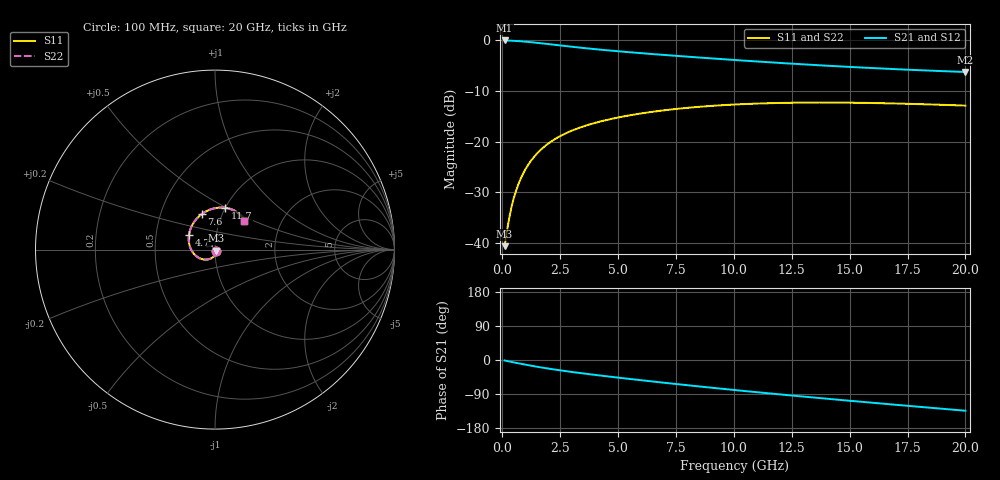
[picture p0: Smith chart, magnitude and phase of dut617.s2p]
! Touchstone file exported from HFSS 2024.1.0
!  File:  C:/UserFiles/LocalFiles/RDL_TSV_Batchsim/temp_RDL_TSV_617_1779801048.aedt
!  Generated:  09:24:33 PM May 26, 2026
!  Design:  RDL_TSV
!  Project:  temp_RDL_TSV_617_1779801048
!  Setup:  Setup1
!  Solution:  Sweep
! Variables:
!  dtsv = 9.3um
!  hbump = 3um
!  htsv = 98um
!  ldown = 111.08um
!  lrdl = 293.22um
!  p = 40
!  p1 = 40.61um
!  rhole = 10um
!  subl = 1506.12um
!  t = 450um
!  tdown = 4.55um
!  trdl = 3.32um
!  viad = 10um
!  wdown = 13.89um
!  wrdl = 27.21um
!  xbump = 18um
# GHz S MA R 50.000000
! Terminal data exported
! Port[1] = TM1_1_T1
! Port[2] = TM1_4_T1
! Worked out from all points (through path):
!   200 points, 100 MHz to 20 GHz, reference 50 ohm
!   highest |S21| = -0.07 dB at 100 MHz (marker M1); lowest = -6.3 dB at 20 GHz (marker M2)
!   group delay of S21, straight-line fit = 17.5 ps
!   lowest |S11| = -40.6 dB at 100 MHz (marker M3), VSWR 1.02, Z = 50.8 - j0.55 ohm
!   |S11| at or under -10 dB: start of sweep to end of sweep
!   |S22| runs from -40.6 to -12.3 dB; largest |S21 - S12| = 9.9e-15
!   S11 on the Smith chart (normalised r, x): 100 MHz: 1.02, -0.01; 4.7 GHz: 0.74, +0.13; 7.6 GHz: 0.80, +0.33; 11.7 GHz: 1.00, +0.49; 20 GHz: 1.30, +0.44
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0.1  0.009345 -35.4  0.9917 -1.3  0.9917 -1.3  0.009345 -35.4
! Gamma 0 0 0 0
! Port Impedance 50 0 50 0
0.2  0.01308 -57.5  0.9905 -2.6  0.9905 -2.6  0.01308 -57.5
0.3  0.01774 -71.1  0.9886 -3.9  0.9886 -3.9  0.01774 -71.1
0.4  0.02278 -80.6  0.9864 -5.1  0.9864 -5.1  0.02278 -80.6
0.5  0.02796 -88.1  0.9837 -6.4  0.9837 -6.4  0.02796 -88.1
0.6  0.03316 -94.4  0.9807 -7.6  0.9807 -7.6  0.03316 -94.4
0.8  0.04345 -104.9  0.9737 -10.0  0.9737 -10.0  0.04345 -104.9
1.1  0.05824 -118.0  0.9607 -13.4  0.9607 -13.4  0.05824 -118.0
1.5  0.07636 -132.9  0.9403 -17.8  0.9403 -17.8  0.07636 -132.9
1.8  0.08866 -142.9  0.9238 -20.8  0.9238 -20.8  0.08867 -142.9
2.1  0.09991 -152.0  0.9071 -23.7  0.9071 -23.7  0.09991 -152.0
2.7  0.1196 -168.4  0.8747 -29.1  0.8747 -29.1  0.1196 -168.5
3.5  0.1412 172.8  0.8358 -35.5  0.8358 -35.5  0.1413 172.8
4.7  0.1672 149.9  0.7871 -44.4  0.7871 -44.4  0.1673 149.9
5.7  0.1849 134.3  0.7528 -51.4  0.7528 -51.4  0.185 134.2
6.8  0.2011 119.8  0.7193 -58.8  0.7193 -58.8  0.2012 119.7
7.6  0.211 110.6  0.697 -64.0  0.697 -64.0  0.2111 110.6
10.1  0.2325 87.7  0.6352 -79.7  0.6352 -79.7  0.2327 87.7
11.7  0.2397 76.4  0.6013 -89.1  0.6013 -89.1  0.2399 76.4
13.4  0.2426 66.6  0.5697 -98.8  0.5697 -98.8  0.2429 66.6
16.7  0.2383 52.7  0.5207 -116.7  0.5207 -116.7  0.2387 52.7
20  0.2265 44.4  0.4852 -133.9  0.4852 -133.9  0.227 44.3
